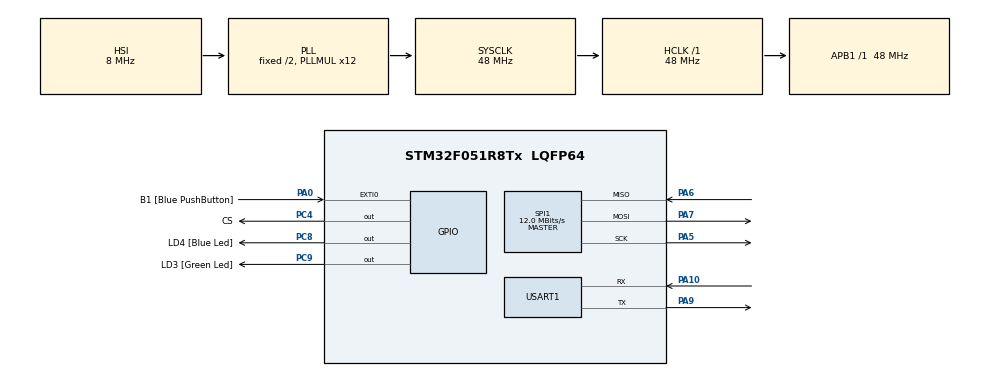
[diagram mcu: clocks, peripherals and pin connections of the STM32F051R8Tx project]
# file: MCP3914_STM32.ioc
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Mcu.Family=STM32F0
Mcu.Name=STM32F051R8Tx
Mcu.Package=LQFP64
PA0.GPIO_Label=B1 [Blue PushButton]
PA0.GPIO_ModeDefaultEXTI=GPIO_MODE_EVT_RISING
PA0.Signal=GPXTI0
PA10.Mode=Asynchronous
PA10.Signal=USART1_RX
PA13.GPIO_Label=SWDIO
PA13.Mode=Serial_Wire
PA13.Signal=SYS_SWDIO
PA14.GPIO_Label=SWCLK
PA14.Mode=Serial_Wire
PA14.Signal=SYS_SWCLK
PA5.Mode=Full_Duplex_Master
PA5.Signal=SPI1_SCK
PA6.Mode=Full_Duplex_Master
PA6.Signal=SPI1_MISO
PA7.Mode=Full_Duplex_Master
PA7.Signal=SPI1_MOSI
PA9.Mode=Asynchronous
PA9.Signal=USART1_TX
PC4.GPIO_Label=CS
PC4.Signal=GPIO_Output
PC8.GPIO_Label=LD4 [Blue Led]
PC8.Signal=GPIO_Output
PC9.GPIO_Label=LD3 [Green Led]
PC9.Signal=GPIO_Output
ProjectManager.HeapSize=0x200
ProjectManager.StackSize=0x400
ProjectManager.TargetToolchain=Makefile
RCC.AHBFreq_Value=48000000
RCC.APB1Freq_Value=48000000
RCC.APB1TimFreq_Value=48000000
RCC.HCLKFreq_Value=48000000
RCC.PLLMUL=RCC_PLL_MUL12
RCC.SYSCLKFreq_VALUE=48000000
RCC.SYSCLKSource=RCC_SYSCLKSOURCE_PLLCLK
SPI1.BaudRatePrescaler=SPI_BAUDRATEPRESCALER_4
SPI1.CalculateBaudRate=12.0 MBits/s
SPI1.DataSize=SPI_DATASIZE_8BIT
SPI1.Direction=SPI_DIRECTION_2LINES
SPI1.Mode=SPI_MODE_MASTER
SPI1.VirtualType=VM_MASTER
USART1.VirtualMode-Asynchronous=VM_ASYNC
board=STM32F0DISCOVERY

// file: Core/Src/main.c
/* USER CODE BEGIN Header */
/**
  ******************************************************************************
  * @file           : main.c
  * @brief          : Main program body
  ******************************************************************************
  * @attention
  *
  * Copyright (c) 2024 STMicroelectronics.
  * All rights reserved.
  *
  * This software is licensed under terms that can be found in the LICENSE file
  * in the root directory of this software component.
  * If no LICENSE file comes with this software, it is provided AS-IS.
  *
  ******************************************************************************
  */
/* USER CODE END Header */
#include "main.h"

SPI_HandleTypeDef hspi1;

UART_HandleTypeDef huart1;

void SystemClock_Config(void);
static void MX_GPIO_Init(void);
static void MX_SPI1_Init(void);
static void MX_USART1_UART_Init(void);

int main(void)
{

  /* MCU Configuration--------------------------------------------------------*/

  /* Reset of all peripherals, Initializes the Flash interface and the Systick. */
  HAL_Init();

  /* Configure the system clock */
  SystemClock_Config();

  /* Initialize all configured peripherals */
  MX_GPIO_Init();
  MX_SPI1_Init();
  MX_USART1_UART_Init();
  /* USER CODE BEGIN 2 */
  uint8_t SECURITY_BYTE[4] = {0x7F, 0x00, 0x00, 0x00}; //transmits the control byte to read the security register of the MCP3914
  uint8_t CONFIG0Read[4] = {0x5B, 0x00, 0x00, 0x00}; //reads contents of config0
  uint8_t CONFIG1Read[4] = {0x5D, 0x00, 0x00, 0x00}; //reads contents of config1
  uint8_t CHANNEL0Read[4] = {0x41, 0x00, 0x00, 0x00}; //reads the contents of channel 0
  uint8_t CHANNEL1Read[4] = {0x43, 0x00, 0x00, 0x00}; //reads the contents of channel 1
  uint8_t CHANNEL2Read[4] = {0x45, 0x00, 0x00, 0x00}; //reads the contents of channel 1
  uint8_t OSR256[4] = {0x5A, 0x38, 0x60, 0x28}; //sets OSR to 256
  uint8_t VREFExtEN[4] = {0x5C, 0x00, 0x00, 0x80}; //enables vrefext by writing to config 1
  uint8_t CLKIntEN[4] = {0x5C, 0x00, 0x00, 0x00}; //enables the internal clock on the MCP3914 board by writing to config 1

  MCP3914Write(CLKIntEN);

  uint8_t receiveData[4]; // array for receiving 4 bytes of data but the first byte can be ignored because it receives whilst transmitting

  /* USER CODE END 2 */

  /* Infinite loop */
  /* USER CODE BEGIN WHILE */
  while (1)
  {

    MCP3914Read(CHANNEL2Read, receiveData);
    HAL_Delay(1000);
    /* USER CODE END WHILE */

  }
}

void SystemClock_Config(void)
{
  RCC_OscInitTypeDef RCC_OscInitStruct = {0};
  RCC_ClkInitTypeDef RCC_ClkInitStruct = {0};
  RCC_PeriphCLKInitTypeDef PeriphClkInit = {0};

  /** Initializes the RCC Oscillators according to the specified parameters
  * in the RCC_OscInitTypeDef structure.
  */
  RCC_OscInitStruct.OscillatorType = RCC_OSCILLATORTYPE_HSI;
  RCC_OscInitStruct.HSIState = RCC_HSI_ON;
  RCC_OscInitStruct.HSICalibrationValue = RCC_HSICALIBRATION_DEFAULT;
  RCC_OscInitStruct.PLL.PLLState = RCC_PLL_ON;
  RCC_OscInitStruct.PLL.PLLSource = RCC_PLLSOURCE_HSI;
  RCC_OscInitStruct.PLL.PLLMUL = RCC_PLL_MUL12;
  RCC_OscInitStruct.PLL.PREDIV = RCC_PREDIV_DIV1;
  if (HAL_RCC_OscConfig(&RCC_OscInitStruct) != HAL_OK)
  {
    Error_Handler();
  }

  /** Initializes the CPU, AHB and APB buses clocks
  */
  RCC_ClkInitStruct.ClockType = RCC_CLOCKTYPE_HCLK|RCC_CLOCKTYPE_SYSCLK
                              |RCC_CLOCKTYPE_PCLK1;
  RCC_ClkInitStruct.SYSCLKSource = RCC_SYSCLKSOURCE_PLLCLK;
  RCC_ClkInitStruct.AHBCLKDivider = RCC_SYSCLK_DIV1;
  RCC_ClkInitStruct.APB1CLKDivider = RCC_HCLK_DIV1;

  if (HAL_RCC_ClockConfig(&RCC_ClkInitStruct, FLASH_LATENCY_1) != HAL_OK)
  {
    Error_Handler();
  }
  PeriphClkInit.PeriphClockSelection = RCC_PERIPHCLK_USART1;
  PeriphClkInit.Usart1ClockSelection = RCC_USART1CLKSOURCE_PCLK1;
  if (HAL_RCCEx_PeriphCLKConfig(&PeriphClkInit) != HAL_OK)
  {
    Error_Handler();
  }
}

static void MX_SPI1_Init(void)
{

  /* SPI1 parameter configuration*/
  hspi1.Instance = SPI1;
  hspi1.Init.Mode = SPI_MODE_MASTER;
  hspi1.Init.Direction = SPI_DIRECTION_2LINES;
  hspi1.Init.DataSize = SPI_DATASIZE_8BIT;
  hspi1.Init.CLKPolarity = SPI_POLARITY_LOW;
  hspi1.Init.CLKPhase = SPI_PHASE_1EDGE;
  hspi1.Init.NSS = SPI_NSS_SOFT;
  hspi1.Init.BaudRatePrescaler = SPI_BAUDRATEPRESCALER_4;
  hspi1.Init.FirstBit = SPI_FIRSTBIT_MSB;
  hspi1.Init.TIMode = SPI_TIMODE_DISABLE;
  hspi1.Init.CRCCalculation = SPI_CRCCALCULATION_DISABLE;
  hspi1.Init.CRCPolynomial = 7;
  hspi1.Init.CRCLength = SPI_CRC_LENGTH_DATASIZE;
  hspi1.Init.NSSPMode = SPI_NSS_PULSE_ENABLE;
  if (HAL_SPI_Init(&hspi1) != HAL_OK)
  {
    Error_Handler();
  }

}

static void MX_USART1_UART_Init(void)
{

  huart1.Instance = USART1;
  huart1.Init.BaudRate = 38400;
  huart1.Init.WordLength = UART_WORDLENGTH_8B;
  huart1.Init.StopBits = UART_STOPBITS_1;
  huart1.Init.Parity = UART_PARITY_NONE;
  huart1.Init.Mode = UART_MODE_TX_RX;
  huart1.Init.HwFlowCtl = UART_HWCONTROL_NONE;
  huart1.Init.OverSampling = UART_OVERSAMPLING_16;
  huart1.Init.OneBitSampling = UART_ONE_BIT_SAMPLE_DISABLE;
  huart1.AdvancedInit.AdvFeatureInit = UART_ADVFEATURE_NO_INIT;
  if (HAL_UART_Init(&huart1) != HAL_OK)
  {
    Error_Handler();
  }

}

static void MX_GPIO_Init(void)
{
  GPIO_InitTypeDef GPIO_InitStruct = {0};

  /* GPIO Ports Clock Enable */
  __HAL_RCC_GPIOA_CLK_ENABLE();
  __HAL_RCC_GPIOC_CLK_ENABLE();

  /*Configure GPIO pin Output Level */
  HAL_GPIO_WritePin(GPIOC, CS_Pin|LD4_Pin|LD3_Pin, GPIO_PIN_RESET);

  /*Configure GPIO pin : B1_Pin */
  GPIO_InitStruct.Pin = B1_Pin;
  GPIO_InitStruct.Mode = GPIO_MODE_EVT_RISING;
  GPIO_InitStruct.Pull = GPIO_NOPULL;
  HAL_GPIO_Init(B1_GPIO_Port, &GPIO_InitStruct);

  /*Configure GPIO pins : CS_Pin LD4_Pin LD3_Pin */
  GPIO_InitStruct.Pin = CS_Pin|LD4_Pin|LD3_Pin;
  GPIO_InitStruct.Mode = GPIO_MODE_OUTPUT_PP;
  GPIO_InitStruct.Pull = GPIO_NOPULL;
  GPIO_InitStruct.Speed = GPIO_SPEED_FREQ_LOW;
  HAL_GPIO_Init(GPIOC, &GPIO_InitStruct);

}

/* USER CODE BEGIN 4 */
void MCP3914Read(uint8_t* sendData, uint8_t* receiveData){

    HAL_GPIO_WritePin(CS_GPIO_Port, CS_Pin, GPIO_PIN_RESET); //enable SPI by setting CS low
    HAL_SPI_TransmitReceive(&hspi1, sendData, receiveData, 4, HAL_MAX_DELAY); //transmit and receive over SPI
    HAL_GPIO_WritePin(CS_GPIO_Port, CS_Pin, GPIO_PIN_SET); //disable SPI by setting CS high
    char buffer[16];
    sprintf(buffer, "%02X%02X%02X\r\n",receiveData[1], receiveData[2], receiveData[3]);
    HAL_UART_Transmit(&huart1, (uint8_t*)buffer, strlen(buffer), HAL_MAX_DELAY);
}

void MCP3914Write(uint8_t* sendData){

    HAL_GPIO_WritePin(CS_GPIO_Port, CS_Pin, GPIO_PIN_RESET); //enable SPI by setting CS low
    HAL_SPI_Transmit(&hspi1, sendData, 4, HAL_MAX_DELAY);
    HAL_GPIO_WritePin(CS_GPIO_Port, CS_Pin, GPIO_PIN_SET); //disable SPI by setting CS high
}
/* USER CODE END 4 */

void Error_Handler(void)
{
  __disable_irq();
  while (1)
  {
  }
}
